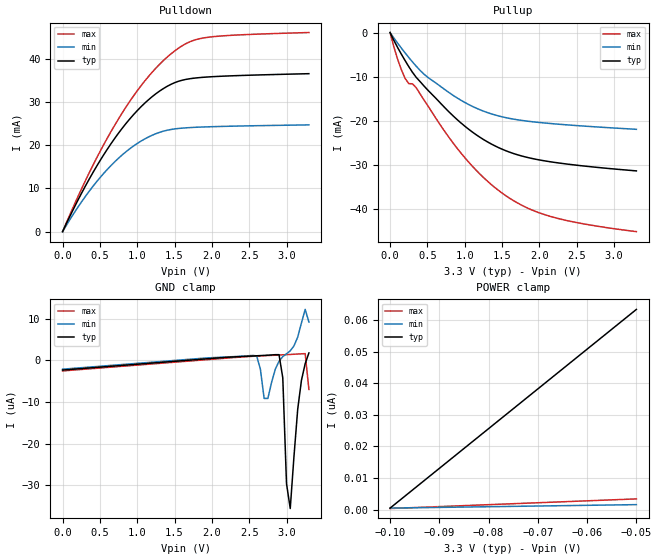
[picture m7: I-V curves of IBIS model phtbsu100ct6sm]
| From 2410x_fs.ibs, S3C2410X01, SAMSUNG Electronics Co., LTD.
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[Model] phtbsu100ct6sm
 Model_type  I/O
 Polarity   Non-Inverting
 Enable   Active-Low
 Vinh= 2.00
 Vinl= 0.80
|variable   typ   min   max
 C_comp   2pF   2pF   2pF
|variable   typ   min   max
[Temperature Range]   25.0   0   70
|variable   typ   min   max
[Voltage Range]   3.3V   3.0V   3.6V
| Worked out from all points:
|   slope of the pulldown table from 0 to 0.495 V, typ, clamps not added: 30.5 ohm
|   slope of the pullup table from 0 to 0.495 V, typ, clamps not added: 38.4 ohm
[POWER_clamp]
|  voltage   I(typ)   I(min)   I(max)
-100mV    455.4pA    459.1pA    328.1pA
-50mV     63.44nA    1.56nA     3.377nA
[GND_clamp]
|  voltage   I(typ)   I(min)   I(max)
0V        -2.31uA    -2.1uA     -2.52uA
2.6V      1.12uA     1.101uA    1.042uA
2.65V     1.166uA    -2.104uA   1.087uA
2.7V      1.213uA    -9.127uA   1.131uA
2.75V     1.264uA    -9.146uA   1.176uA
2.9V      1.382uA    -182.6nA   1.309uA
2.95V     -4.177uA   916.7nA    1.353uA
3V        -29.64uA   1.606uA    1.398uA
3.05V     -35.62uA   2.316uA    1.444uA
3.15V     -11.74uA   5.62uA     1.542uA
3.25V     -770.6nA   12.28uA    1.637uA
3.3V      1.802uA    9.24uA     -6.971uA
[Pullup]
|  voltage   I(typ)   I(min)   I(max)
0V        2.249uA    2.015uA    2.488uA
100mV     -3.359mA   -2.375mA   -5.998mA
200mV     -6.33mA    -4.594mA   -10.37mA
250mV     -7.719mA   -5.648mA   -11.6mA
350mV     -10.17mA   -7.637mA   -12.52mA
500mV     -12.97mA   -10.09mA   -16.48mA
850mV     -19.01mA   -14.32mA   -25.2mA
1.1V      -22.56mA   -16.74mA   -30.31mA
1.4V      -25.7mA    -18.69mA   -35.14mA
1.75V     -27.97mA   -19.92mA   -39.09mA
2.1V      -29.22mA   -20.59mA   -41.52mA
3.3V      -31.42mA   -21.98mA   -45.22mA
[Pulldown]
|  voltage   I(typ)   I(min)   I(max)
0V        -304.3pA   -391.7pA   -642.6pA
200mV     7.092mA    5.518mA    7.883mA
400mV     13.46mA    10.32mA    15.11mA
600mV     19.08mA    14.41mA    21.66mA
750mV     22.79mA    16.99mA    26.1mA
950mV     27.04mA    19.8mA     31.36mA
1.1V      29.69mA    21.43mA    34.81mA
1.3V      32.51mA    22.96mA    38.7mA
1.45V     34.04mA    23.61mA    41.08mA
1.7V      35.34mA    24.05mA    43.86mA
1.9V      35.71mA    24.21mA    44.82mA
3.3V      36.52mA    24.68mA    46.03mA
[Ramp]
| variable   typ   min   max
dV/dt_r  8.3373E-01/2.1316E-09   5.5267E-01/2.7712E-09   1.1425E+00/1.6146E-09
dV/dt_f  7.5274E-01/1.5936E-09   5.2751E-01/2.1525E-09   6.9945E-01/1.0404E-09
R_load = 50ohms
